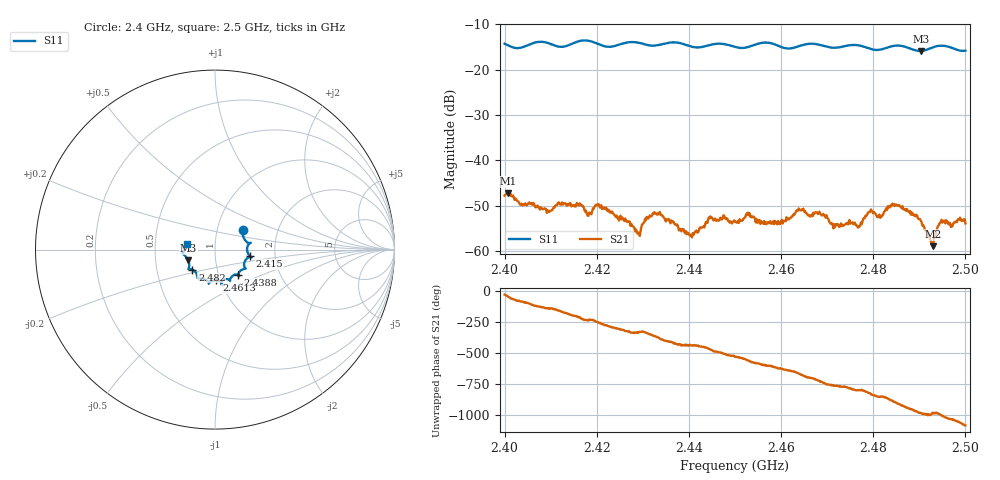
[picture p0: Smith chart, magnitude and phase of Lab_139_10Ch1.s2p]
# Hz S RI R 50
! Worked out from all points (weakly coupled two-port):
!   601 points, 2.4 GHz to 2.5 GHz, reference 50 ohm
!   highest |S21| = -47.23 dB at 2.4008 GHz (marker M1); lowest = -58.9 dB at 2.493 GHz (marker M2)
!   lowest |S11| = -15.9 dB at 2.4903 GHz (marker M3), VSWR 1.38, Z = 36.8 - j4.45 ohm
!   |S11| at or under -10 dB: start of sweep to end of sweep
!   S12 and S22 are empty: the file has one direction only
!   S11 on the Smith chart (normalised r, x): 2.4 GHz: 1.33, +0.31; 2.415 GHz: 1.47, -0.11; 2.4388 GHz: 1.24, -0.36; 2.4613 GHz: 0.96, -0.34; 2.482 GHz: 0.76, -0.17; 2.5 GHz: 0.72, +0.05
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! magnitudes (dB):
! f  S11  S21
! 2.4 GHz  -14.3  -47.8
! 2.4008 GHz  -14.7  -47.2
! 2.4097 GHz  -14.2  -51.4
! 2.415 GHz  -14.1  -50.1
! 2.4167 GHz  -13.6  -49.8
! 2.4218 GHz  -14.9  -50.5
! 2.4288 GHz  -14.0  -56.2
! 2.4333 GHz  -14.6  -51.6
! 2.4388 GHz  -14.4  -55.2
! 2.4407 GHz  -14.9  -57.0
! 2.4447 GHz  -14.5  -52.4
! 2.45 GHz  -15.0  -53.4
! 2.4613 GHz  -15.3  -53.0
! 2.4667 GHz  -14.3  -52.0
! 2.4767 GHz  -14.6  -54.8
! 2.4793 GHz  -15.4  -51.3
! 2.482 GHz  -15.5  -52.1
! 2.4833 GHz  -15.0  -50.4
! 2.4903 GHz  -15.9  -53.4
! 2.493 GHz  -15.1  -58.9
! 2.4948 GHz  -14.7  -53.1
! 2.5 GHz  -15.8  -53.9
